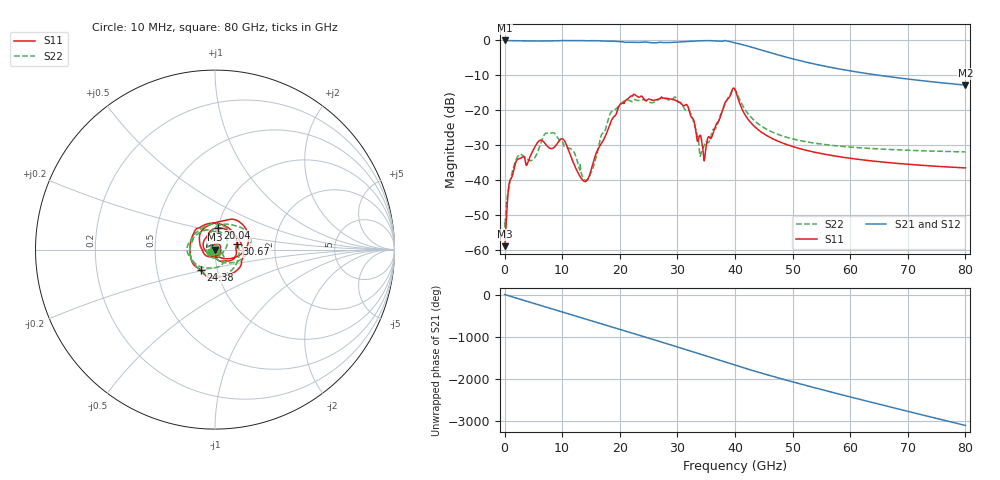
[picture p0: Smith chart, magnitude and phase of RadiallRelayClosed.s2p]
# Hz S DB R 50
!Touchstone multiport model file <C:\work\PySI\TestSignalIntegrity\OysterSimulation\ResampledSimbeor\RadiallRelayClosed.s2p>
!Created on 22 Aug 18, at 17:55:34.
!Created with Simbeor THz 2018.01(64bit) of Simberian Inc. built on Jul 20 2018
!Output from MultiportParameters of Simbeor.
!Multiport parameters: DataOrigin=Simulation DataOriginName="Project(1).RadiallRelayClosed_resampled.LNS"
!RESAMPLED_RCM: Max_RMS_Error=0.0223487; FrqLow=0; FrqHigh=4e+10; MaxTimeResolution=1.25e-11; PassivityState=1; ReciprocityState=1; DataSource="`ÂEÂn"
!RATIONAL COMPACTOR: Precision: Normal; Extract Delay: ON; Extrapolate to DC: ON; Extrapolate to Infinity: OFF; Enforce Passivity: ON; Enforce Reciprocity: ON; Band Limit Factor: 1; Auto-Adjust Config: OFF
!Uncomment the following lines with keywords in square brakets to support IBIS forum specification 2.0.
![Version] 2.0 !This line should be the first in file, preceeding the line starting with #.
![Number of Ports] 2
![Number of Frequencies] 8001
![Two-Port Data Order] 21_12
![Reference] 50 50
!!!!Multiport descriptor profile: InputCount=2 TotalPortCount=2
!DescriptorOutline={DescriptorType=SMatrix InputSpace=Terminal NormalizationType=CommonZo NormalizationCommonZo=50 Ohm OutputFormat=DBMagnitudeAngle}
!InputProfile={Name="IO1" IsTLineInput=False InputNumber=1 PortCount=1 FirstPortNumber=1 InputSpace=Terminal BlockType=SBlock NormalizationType=CommonZo Zo=50}
!InputProfile={Name="IO2" IsTLineInput=False InputNumber=2 PortCount=1 FirstPortNumber=2 InputSpace=Terminal BlockType=SBlock NormalizationType=CommonZo Zo=50}
!!!Global port number to input_name/local_port_number correspondence:
!Port 1 -> "IO1"/local_port_1 (terminal)
!Port 2 -> "IO2"/local_port_1 (terminal)
!!!!End of descriptor profile.
!Frequency Hz 20.0*log(|S[1,1]|) arg(S[1,1]) 20.0*log(|S[2,1]|) arg(S[2,1]) 20.0*log(|S[1,2]|) arg(S[1,2]) 20.0*log(|S[2,2]|) arg(S[2,2])
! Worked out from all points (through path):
!   8000 points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, 10 MHz to 80 GHz, reference 50 ohm
!   highest |S21| = -0.01 dB at 10 MHz (marker M1); lowest = -12.8 dB at 80 GHz (marker M2)
!   lowest |S11| = -58.8 dB at 10 MHz (marker M3), VSWR 1.00, Z = 50.1 + j0.00323 ohm
!   |S11| at or under -10 dB: start of sweep to end of sweep
!   |S22| runs from -53.3 to -13.7 dB; largest |S21 - S12| = 5.9e-14
!   S11 on the Smith chart (normalised r, x): 10 MHz: 1.00, +0.00; 20.04 GHz: 1.00, +0.24; 24.38 GHz: 0.83, -0.20; 30.67 GHz: 1.27, +0.08; 80 GHz: 0.98, -0.03
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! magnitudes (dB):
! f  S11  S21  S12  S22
! 10 MHz  -58.8  0.0  0.0  -52.0
! 820 MHz  -40.8  -0.1  -0.1  -41.4
! 1.92 GHz  -35.0  -0.1  -0.1  -34.4
! 4.01 GHz  -35.0  -0.2  -0.2  -34.0
! 5.98 GHz  -28.7  -0.2  -0.2  -30.9
! 8.58 GHz  -30.6  -0.1  -0.1  -26.5
! 10.28 GHz  -28.4  0.0  0.0  -30.0
! 13.35 GHz  -39.5  0.0  0.0  -38.0
! 14.7 GHz  -38.7  -0.1  -0.1  -39.0
! 18.29 GHz  -24.0  -0.2  -0.2  -21.1
! 20.04 GHz  -18.3  -0.3  -0.3  -18.4
! 24.38 GHz  -17.1  -0.4  -0.4  -17.0
! 26.68 GHz  -16.8  -0.6  -0.6  -17.0
! 30.67 GHz  -18.0  -0.4  -0.4  -18.1
! 32.37 GHz  -21.7  -0.2  -0.2  -21.1
! 34.07 GHz  -27.4  -0.1  -0.1  -32.5
! 34.69 GHz  -34.3  -0.1  -0.1  -30.0
! 40.01 GHz  -14.0  -0.7  -0.7  -14.0
! 44.07 GHz  -25.6  -2.5  -2.5  -23.9
! 53.34 GHz  -31.8  -6.6  -6.6  -29.2
! 66.67 GHz  -34.9  -10.3  -10.3  -31.2
! 80 GHz  -36.4  -12.8  -12.8  -31.9
